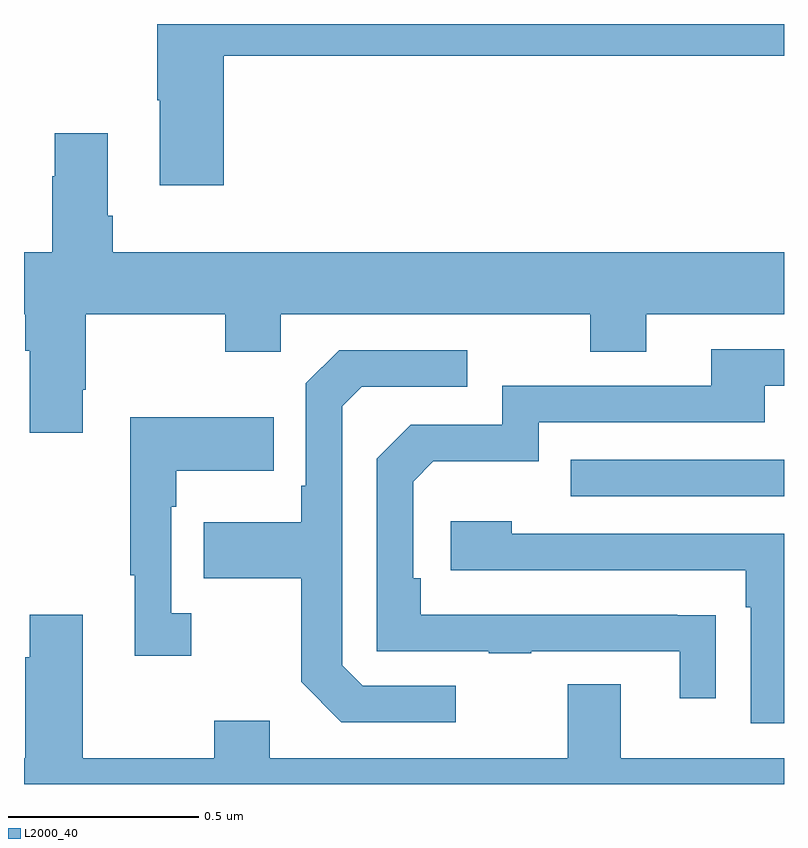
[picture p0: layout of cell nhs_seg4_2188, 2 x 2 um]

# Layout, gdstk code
import gdstk
lib = gdstk.Library(unit=1e-6, precision=1e-09)
def R(c, l, rs):  # rectangles x0, y0, x1, y1
    for r in rs: c.add(gdstk.rectangle(r[:2], r[2:], *l))
def P(c, l, *ps):  # polygons
    for p in ps: c.add(gdstk.Polygon(p, *l))
L2000_40 = (2000, 40)

nhs_seg4_2188 = lib.new_cell('nhs_seg4_2188')
R(nhs_seg4_2188, L2000_40, [(138.439,813.657,139,813.753)])
P(nhs_seg4_2188, L2000_40, [(137.525,814.816),(139,814.816),(139,814.9),(137.35,814.9),(137.35,814.699),(137.357,814.699),(137.357,814.476),(137.525,814.476)],
  [(137.155,813.937),(137.163,813.937),(137.163,814.136),(137.53,814.136),(137.53,814.037),(137.676,814.037),(137.676,814.136),(138.49,814.136),(138.49,814.037),(138.637,814.037),(138.637,814.136),(139,814.136),(139,814.3),(137.234,814.3),(137.234,814.396),(137.221,814.396),(137.221,814.612),(137.081,814.612),(137.081,814.499),(137.074,814.499),(137.074,814.3),(137,814.3),(137,814.136),(137.003,814.136),(137.003,814.04),(137.015,814.04),(137.015,813.825),(137.155,813.825)],
  [(138.821,813.344),(138.719,813.344),(138.719,813.345),(138.044,813.345),(138.044,813.442),(138.024,813.442),(138.024,813.696),(138.077,813.749),(138.354,813.749),(138.354,813.852),(138.949,813.852),(138.949,813.948),(139,813.948),(139,814.044),(138.809,814.044),(138.809,813.948),(138.258,813.948),(138.258,813.846),(138.018,813.846),(137.928,813.756),(137.928,813.249),(138.223,813.249),(138.223,813.244),(138.335,813.244),(138.335,813.249),(138.725,813.249),(138.725,813.126),(138.821,813.126)],
  [(138.136,813.159),(137.892,813.159),(137.838,813.213),(137.838,813.894),(137.889,813.945),(138.166,813.945),(138.166,814.041),(137.829,814.041),(137.742,813.954),(137.742,813.685),(137.73,813.685),(137.73,813.589),(137.473,813.589),(137.473,813.442),(137.73,813.442),(137.73,813.169),(137.835,813.063),(138.136,813.063)],
  [(137.44,813.35),(137.388,813.35),(137.388,813.629),(137.401,813.629),(137.401,813.725),(137.657,813.725),(137.657,813.865),(137.28,813.865),(137.28,813.449),(137.291,813.449),(137.291,813.237),(137.44,813.237)],
  [(139,813.558),(138.284,813.558),(138.284,813.592),(138.123,813.592),(138.123,813.462),(138.899,813.462),(138.899,813.365),(138.912,813.365),(138.912,813.06),(139,813.06)],
  [(139,812.968),(138.571,812.968),(138.571,813.163),(138.431,813.163),(138.431,812.968),(137.647,812.968),(137.647,813.067),(137.5,813.067),(137.5,812.968),(137.155,812.968),(137.155,813.346),(137.015,813.346),(137.015,813.233),(137.003,813.233),(137.003,812.968),(137,812.968),(137,812.9),(139,812.9)])

lib.write_gds('nhs_seg4_2188.gds')
